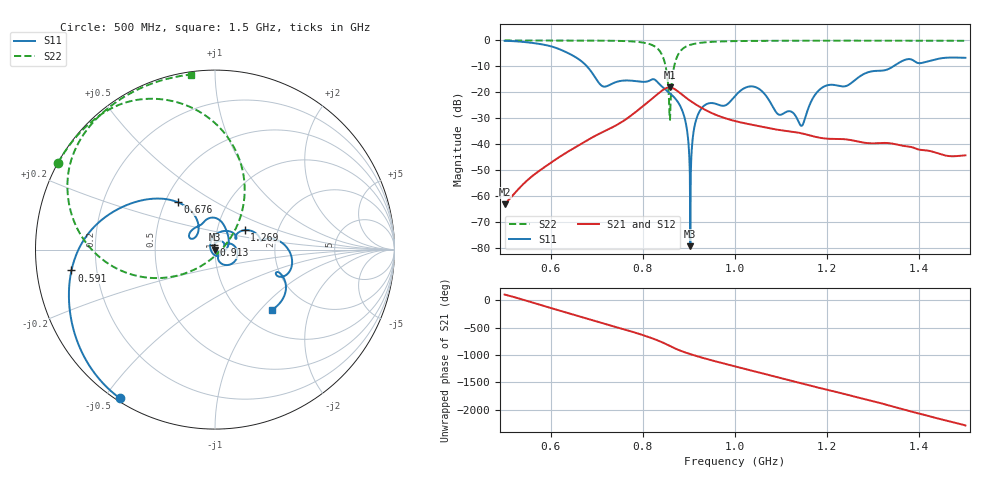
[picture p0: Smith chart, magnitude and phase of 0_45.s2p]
! TOUCHSTONE file generated by CST MICROWAVE STUDIO
! Date and time: Mon Sep 28 15:31:37 2020
! Project name: Scenario_1_Free_SPace.cst
! Parameters = {dx1=935.3; L_HA=400; MT=2.54; Rad_Dielectric=30; Rad_Lower=7.3; Rad_Upper=30; a_HA=580; a_WG=246; b_HA=500; b_WG=121; c_HA=0; c_WG=187; d_feed=85; h_feed=15; h_lower=18; h_upper=40}
! Header version: 2018
! Port assignment regex: !\s*Touchstone port\s*([0-9]+)\s*=\s*(CST MWS port|CST DS port)\s*([0-9]+|Zmin|Zmax)\s*\(\"(.*)\"\)(\s*mode\s*([0-9]+))?.*
! Touchstone port assignment:
! Touchstone port 1 = CST MWS port 1 ("")
! Touchstone port 2 = CST MWS port 2 ("")
# GHz S DB R 50
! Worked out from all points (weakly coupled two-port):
!   1003 points, 500 MHz to 1.5 GHz, reference 50 ohm
!   highest |S21| = -18.12 dB at 858 MHz (marker M1); lowest = -63.3 dB at 500 MHz (marker M2)
!   lowest |S11| = -79.4 dB at 903 MHz (marker M3), VSWR 1.00, Z = 50 - j0.0107 ohm
!   |S11| at or under -10 dB: 678.7 MHz to 1.344 GHz (664.9 MHz wide, 65.8 % of centre)
!   |S22| runs from -30.6 to 0.0 dB; largest |S21 - S12| = 3.9e-05
!   S11 on the Smith chart (normalised r, x): 500 MHz: 0.01, -0.55; 591 MHz: 0.11, -0.07; 676 MHz: 0.58, +0.35; 913 MHz: 0.99, +0.05; 1.269 GHz: 1.35, +0.31; 1.5 GHz: 1.36, -1.16
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0.5  -0.15 -122.6  -63.25 104.9  -63.25 104.9  -0.01 151.1
0.591  -1.85 -171.8  -48.34 -118.9  -48.35 -118.9  -0.02 144.8
0.667  -8.06 134.6  -39.82 53.0  -39.82 53.0  -0.04 138.3
0.676  -9.50 128.1  -38.87 30.8  -38.87 30.8  -0.05 137.4
0.715  -17.80 141.5  -35.16 -66.7  -35.16 -66.7  -0.10 132.9
0.787  -15.74 130.1  -27.25 118.0  -27.25 118.0  -0.52 117.8
0.834  -16.49 72.3  -20.42 -20.6  -20.42 -20.6  -3.51 86.7
0.847  -18.65 54.6  -18.71 -68.4  -18.71 -68.4  -8.19 64.9
0.858  -20.27 38.2  -18.12 -113.6  -18.12 -113.6  -29.37 -3.6
0.87  -22.36 16.5  -18.88 -162.2  -18.88 -162.2  -8.50 -155.0
0.888  -28.28 -22.1  -21.34 136.9  -21.34 136.9  -3.01 178.1
0.903  -79.38 -88.4  -23.31 94.3  -23.31 94.3  -1.70 166.2
0.913  -32.44 99.9  -24.48 68.0  -24.48 68.0  -1.25 160.9
0.934  -25.03 57.3  -26.65 16.2  -26.65 16.2  -0.74 153.1
1  -21.46 24.4  -31.10 -130.3  -31.10 -130.3  -0.26 140.2
1.046  -18.11 -37.4  -32.86 129.8  -32.86 129.8  -0.17 134.7
1.093  -28.41 -59.3  -34.47 29.0  -34.47 29.0  -0.13 130.2
1.144  -32.98 -152.1  -35.82 -82.2  -35.82 -82.2  -0.10 126.0
1.167  -22.94 96.6  -36.86 -131.8  -36.86 -131.8  -0.09 124.1
1.269  -14.11 33.3  -39.09 13.9  -39.09 13.9  -0.09 116.3
1.334  -10.96 11.9  -39.63 -125.4  -39.63 -125.4  -0.09 111.4
1.5  -6.71 -46.6  -44.34 -131.8  -44.34 -131.4  -0.14 97.8
